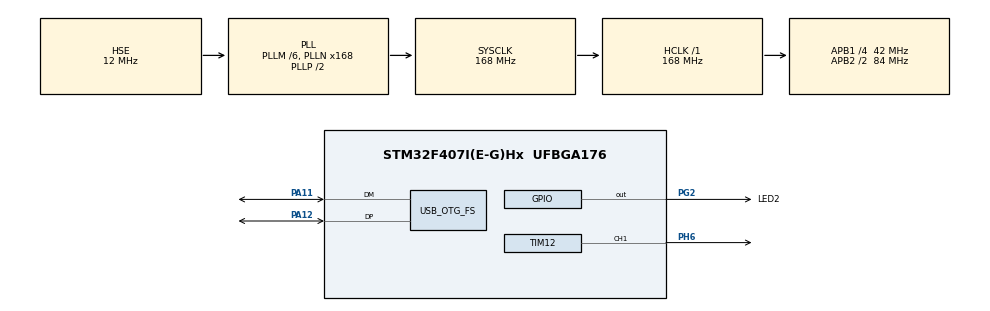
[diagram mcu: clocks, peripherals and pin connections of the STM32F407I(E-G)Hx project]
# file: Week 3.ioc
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FREERTOS.Tasks01=LEDtask,24,128,LEDtask_entry,As weak,NULL,Dynamic,NULL,NULL;USBtask,8,128,USBtask_entry,As weak,NULL,Dynamic,NULL,NULL;Buzzertask,8,128,Buzzertask_entry,As weak,NULL,Dynamic,NULL,NULL
Mcu.Family=STM32F4
Mcu.Name=STM32F407I(E-G)Hx
Mcu.Package=UFBGA176
NVIC.OTG_FS_IRQn=true\:5\:0\:false\:false\:true\:true\:false\:true
NVIC.PriorityGroup=NVIC_PRIORITYGROUP_4
PA11.Mode=Device_Only
PA11.Signal=USB_OTG_FS_DM
PA12.Mode=Device_Only
PA12.Signal=USB_OTG_FS_DP
PA13.Mode=Serial_Wire
PA13.Signal=SYS_JTMS-SWDIO
PA14.Mode=Serial_Wire
PA14.Signal=SYS_JTCK-SWCLK
PG2.GPIO_Label=LED2
PG2.Signal=GPIO_Output
PH0-OSC_IN.Mode=HSE-External-Oscillator
PH0-OSC_IN.Signal=RCC_OSC_IN
PH1-OSC_OUT.Mode=HSE-External-Oscillator
PH1-OSC_OUT.Signal=RCC_OSC_OUT
PH6.Signal=S_TIM12_CH1
ProjectManager.HeapSize=0x1000
ProjectManager.StackSize=0x400
ProjectManager.TargetToolchain=MDK-ARM V5.27
RCC.48MHZClocksFreq_Value=48000000
RCC.AHBFreq_Value=168000000
RCC.APB1CLKDivider=RCC_HCLK_DIV4
RCC.APB1Freq_Value=42000000
RCC.APB1TimFreq_Value=84000000
RCC.APB2CLKDivider=RCC_HCLK_DIV2
RCC.APB2Freq_Value=84000000
RCC.APB2TimFreq_Value=168000000
RCC.CortexFreq_Value=168000000
RCC.HCLKFreq_Value=168000000
RCC.HSE_VALUE=12000000
RCC.HSI_VALUE=16000000
RCC.LSE_VALUE=32768
RCC.PLLM=6
RCC.PLLN=168
RCC.PLLQ=7
RCC.SYSCLKFreq_VALUE=168000000
RCC.SYSCLKSource=RCC_SYSCLKSOURCE_PLLCLK
RCC.VCOOutputFreq_Value=336000000
SH.S_TIM12_CH1.0=TIM12_CH1,PWM Generation1 CH1
TIM12.Channel-PWM\ Generation1\ CH1=TIM_CHANNEL_1
TIM12.Period=9999
USB_DEVICE.CLASS_NAME_FS=CDC
USB_DEVICE.VirtualMode-CDC_FS=Cdc
USB_DEVICE.VirtualModeFS=Cdc_FS
USB_OTG_FS.VirtualMode=Device_Only
VP_FREERTOS_VS_CMSIS_V2.Mode=CMSIS_V2
VP_TIM12_VS_ClockSourceINT.Mode=Internal
VP_USB_DEVICE_VS_USB_DEVICE_CDC_FS.Mode=CDC_FS
board=custom

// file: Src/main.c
/* USER CODE BEGIN Header */
/**
  ******************************************************************************
  * @file           : main.c
  * @brief          : Main program body
  ******************************************************************************
  * @attention
  *
  * <h2><center>&copy; Copyright (c) 2020 STMicroelectronics.
  * All rights reserved.</center></h2>
  *
  * This software component is licensed by ST under Ultimate Liberty license
  * SLA0044, the "License"; You may not use this file except in compliance with
  * the License. You may obtain a copy of the License at:
  *                             www.st.com/SLA0044
  *
  ******************************************************************************
  */
/* USER CODE END Header */

#include "main.h"
#include "cmsis_os.h"
#include "tim.h"
#include "usb_device.h"
#include "gpio.h"

/* USER CODE BEGIN Includes */
extern uint8_t CDC_Transmit_FS(uint8_t* Buf, uint16_t Len);
/* USER CODE END Includes */

void SystemClock_Config(void);
void MX_FREERTOS_Init(void);

/* USER CODE BEGIN 0 */
void LEDtask_entry(void *argument){

	while(1){
		HAL_GPIO_TogglePin(LED2_GPIO_Port, LED2_Pin);
		osDelay(500);
	}

}

void buzzer_on(uint16_t psc, uint16_t pwm){
	__HAL_TIM_PRESCALER(&htim12, psc);
  __HAL_TIM_SetCompare(&htim12, TIM_CHANNEL_1, pwm);
}

void buzzer_off(void)
{
  __HAL_TIM_SetCompare(&htim12, TIM_CHANNEL_1, 0);
}

void USBtask_entry(void *argument){
	uint8_t buffer[] = "Hello Wilson\n\r";
	//MX_USB_DEVICE_Init();
	while(1){
		CDC_Transmit_FS(buffer, sizeof(buffer));
		osDelay(2000);
	}
}

void Buzzertask_entry(void *argument){
	// family mart tune
	buzzer_on(24, 5000);
	HAL_Delay(250);
	buzzer_on(31, 5000);
	HAL_Delay(250);
	buzzer_on(42, 5000);
	HAL_Delay(250);
	buzzer_on(31, 5000);
	HAL_Delay(250);
	buzzer_on(27, 5000);
	HAL_Delay(250);
	buzzer_on(20, 5000);
	HAL_Delay(500);
	buzzer_on(27, 5000);
	HAL_Delay(250);
	buzzer_on(24, 5000);
	HAL_Delay(250);
	buzzer_on(27, 5000);
	HAL_Delay(250);
	buzzer_on(42, 5000);
	HAL_Delay(250);
	buzzer_on(31, 5000);
	HAL_Delay(1000);

	while(1){
		buzzer_off();
	}

}

/* USER CODE END 0 */

int main(void)
{

  /* MCU Configuration--------------------------------------------------------*/

  /* Reset of all peripherals, Initializes the Flash interface and the Systick. */
  HAL_Init();

  /* Configure the system clock */
  SystemClock_Config();

  /* Initialize all configured peripherals */
  MX_GPIO_Init();
  MX_TIM12_Init();
  /* USER CODE BEGIN 2 */
	MX_USB_DEVICE_Init();

	HAL_TIM_Base_Start_IT(&htim12);
	HAL_TIM_PWM_Start(&htim12, TIM_CHANNEL_1);

  /* USER CODE END 2 */
  /* Init scheduler */
  osKernelInitialize();

  /* Call init function for freertos objects (in freertos.c) */
  MX_FREERTOS_Init();

  /* Start scheduler */
  osKernelStart();

  /* We should never get here as control is now taken by the scheduler */

  /* Infinite loop */
  while (1)
  {

  }
}

void SystemClock_Config(void)
{
  RCC_OscInitTypeDef RCC_OscInitStruct = {0};
  RCC_ClkInitTypeDef RCC_ClkInitStruct = {0};

  /** Configure the main internal regulator output voltage
  */
  __HAL_RCC_PWR_CLK_ENABLE();
  __HAL_PWR_VOLTAGESCALING_CONFIG(PWR_REGULATOR_VOLTAGE_SCALE1);
  /** Initializes the CPU, AHB and APB busses clocks
  */
  RCC_OscInitStruct.OscillatorType = RCC_OSCILLATORTYPE_HSE;
  RCC_OscInitStruct.HSEState = RCC_HSE_ON;
  RCC_OscInitStruct.PLL.PLLState = RCC_PLL_ON;
  RCC_OscInitStruct.PLL.PLLSource = RCC_PLLSOURCE_HSE;
  RCC_OscInitStruct.PLL.PLLM = 6;
  RCC_OscInitStruct.PLL.PLLN = 168;
  RCC_OscInitStruct.PLL.PLLP = RCC_PLLP_DIV2;
  RCC_OscInitStruct.PLL.PLLQ = 7;
  if (HAL_RCC_OscConfig(&RCC_OscInitStruct) != HAL_OK)
  {
    Error_Handler();
  }
  /** Initializes the CPU, AHB and APB busses clocks
  */
  RCC_ClkInitStruct.ClockType = RCC_CLOCKTYPE_HCLK|RCC_CLOCKTYPE_SYSCLK
                              |RCC_CLOCKTYPE_PCLK1|RCC_CLOCKTYPE_PCLK2;
  RCC_ClkInitStruct.SYSCLKSource = RCC_SYSCLKSOURCE_PLLCLK;
  RCC_ClkInitStruct.AHBCLKDivider = RCC_SYSCLK_DIV1;
  RCC_ClkInitStruct.APB1CLKDivider = RCC_HCLK_DIV4;
  RCC_ClkInitStruct.APB2CLKDivider = RCC_HCLK_DIV2;

  if (HAL_RCC_ClockConfig(&RCC_ClkInitStruct, FLASH_LATENCY_5) != HAL_OK)
  {
    Error_Handler();
  }
}

void Error_Handler(void)
{
}

/************************ (C) COPYRIGHT STMicroelectronics *****END OF FILE****/

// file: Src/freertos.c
/* USER CODE BEGIN Header */
/**
  ******************************************************************************
  * File Name          : freertos.c
  * Description        : Code for freertos applications
  ******************************************************************************
  * @attention
  *
  * <h2><center>&copy; Copyright (c) 2020 STMicroelectronics.
  * All rights reserved.</center></h2>
  *
  * This software component is licensed by ST under Ultimate Liberty license
  * SLA0044, the "License"; You may not use this file except in compliance with
  * the License. You may obtain a copy of the License at:
  *                             www.st.com/SLA0044
  *
  ******************************************************************************
  */
/* USER CODE END Header */

#include "FreeRTOS.h"
#include "task.h"
#include "main.h"
#include "cmsis_os.h"

/* Definitions for LEDtask */
osThreadId_t LEDtaskHandle;
const osThreadAttr_t LEDtask_attributes = {
  .name = "LEDtask",
  .priority = (osPriority_t) osPriorityNormal,
  .stack_size = 128
};
/* Definitions for USBtask */
osThreadId_t USBtaskHandle;
const osThreadAttr_t USBtask_attributes = {
  .name = "USBtask",
  .priority = (osPriority_t) osPriorityLow,
  .stack_size = 128
};

void LEDtask_entry(void *argument);
void USBtask_entry(void *argument);

extern void MX_USB_DEVICE_Init(void);
void MX_FREERTOS_Init(void); /* (MISRA C 2004 rule 8.1) */

void MX_FREERTOS_Init(void) {

  /* Create the thread(s) */
  /* creation of LEDtask */
  LEDtaskHandle = osThreadNew(LEDtask_entry, NULL, &LEDtask_attributes);

  /* creation of USBtask */
  USBtaskHandle = osThreadNew(USBtask_entry, NULL, &USBtask_attributes);

}

__weak void LEDtask_entry(void *argument)
{
  /* init code for USB_DEVICE */
  MX_USB_DEVICE_Init();
  for(;;)
  {
    osDelay(1);
  }
}

__weak void USBtask_entry(void *argument)
{
  for(;;)
  {
    osDelay(1);
  }
}

/************************ (C) COPYRIGHT STMicroelectronics *****END OF FILE****/
